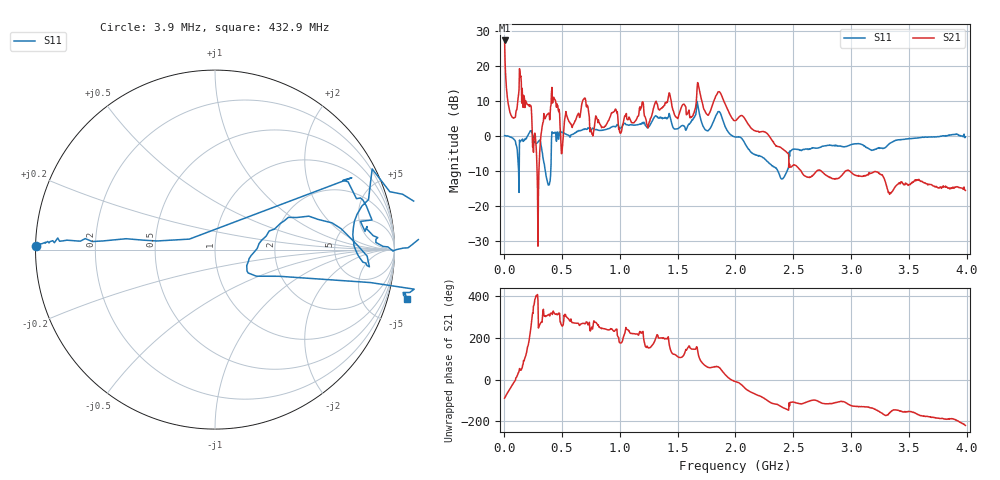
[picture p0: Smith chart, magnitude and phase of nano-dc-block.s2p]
# HZ S RI R 50
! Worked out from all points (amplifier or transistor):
!   1023 points, 3.9 MHz to 3.99 GHz, reference 50 ohm
!   highest |S21| = 27.2 dB at 3.9 MHz (marker M1)
!   |S21| within 3 dB of that: start of sweep to 5.922 MHz
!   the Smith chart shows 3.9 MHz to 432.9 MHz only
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3900000  -0.9973 0.0176  0.7188 -22.81  0 0  0 0
2.73e7  -0.9874 0.0221  1.532 -3.211  0 0  0 0
3.51e7  -0.9786 0.0269  1.542 -2.384  0 0  0 0
1.482e8  0.8102 0.2877  3.955 4.283  0 0  0 0
2.067e8  1.01 -0.000202  -2.623 0.8098  0 0  0 0
2.535e8  0.8551 0.2784  0.5724 -0.0656  0 0  0 0
4.251e8  1.051 -0.2567  3.033 -1.782  0 0  0 0
6.708e8  0.9649 -0.6985  -0.0427 -2.775  0 0  0 0
1.0062e9  0.4152 -1.208  -1.074 0.0736  0 0  0 0
1.1856e9  0.3887 -1.409  -1.784 -1.747  0 0  0 0
1.2441e9  -0.1949 -1.275  -1.15 0.5682  0 0  0 0
1.3338e9  0.0744 -1.772  -2.231 -0.8542  0 0  0 0
1.404e9  -0.1774 -1.732  -2.788 -0.8504  0 0  0 0
1.4508e9  -1.036 -1.031  -1.678 2.079  0 0  0 0
1.6458e9  -1.141 -1.432  -1.834 1.227  0 0  0 0
1.6926e9  -1.912 -0.2388  -0.6296 4.124  0 0  0 0
1.755e9  -1.173 -0.0395  0.9296 1.772  0 0  0 0
1.8837e9  -1.304 1.292  2.627 2.541  0 0  0 0
1.9968e9  -0.6441 0.7087  1.619 -0.2284  0 0  0 0
2.6637e9  0.3824 0.5509  -0.0376 -0.2654  0 0  0 0
3.3267e9  0.7223 0.2105  -0.1484 -0.0474  0 0  0 0
3.9897e9  0.874 -0.3892  -0.1279 0.1041  0 0  0 0
